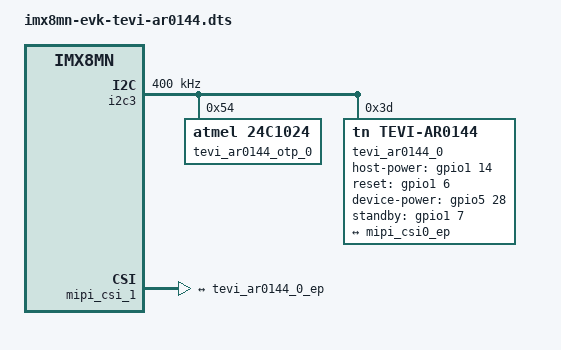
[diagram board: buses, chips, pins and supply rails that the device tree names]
// SPDX-License-Identifier: (GPL-2.0+ OR MIT)
/*
 * Copyright 2021 Technexion Ltd.
 *
 * This program is free software; you can redistribute it and/or
 * modify it under the terms of the GNU General Public License
 * as published by the Free Software Foundation; either version 2
 * of the License, or (at your option) any later version.
 *
 * This program is distributed in the hope that it will be useful,
 * but WITHOUT ANY WARRANTY; without even the implied warranty of
 * MERCHANTABILITY or FITNESS FOR A PARTICULAR PURPOSE.  See the
 * GNU General Public License for more details.
 */

#include "imx8mn-evk.dts"

&i2c3 {
	clock-frequency = <400000>;
	/delete-node/ ov5640_mipi@3c;

	tevi_ar0144_otp_0: eeprom@54 {
		compatible = "atmel,24c1024";
		reg = <0x54>;
		pagesize = <128>;
		//read-only;
	};

	tevi_ar0144_0: tevi_ar0144@3d {
		compatible = "tn,tevi-ar0144";
		reg = <0x3d>;
		pinctrl-names = "default";
		pinctrl-0 = <&pinctrl_csi_pwn>, <&pinctrl_csi_rst>, <&pinctrl_csi_device_pwr_dummy>;
		host-power-gpios = <&gpio1 14 GPIO_ACTIVE_HIGH>;
		reset-gpios = <&gpio1 6 GPIO_ACTIVE_HIGH>;
		device-power-gpios = <&gpio5 28 GPIO_ACTIVE_HIGH>;
		standby-gpios = <&gpio1 7 GPIO_ACTIVE_HIGH>;

		nvmem = <&tevi_ar0144_otp_0>;
		nvmem-names = "calib-data";
		status = "okay";

		port {
			tevi_ar0144_0_ep: endpoint {
				remote-endpoint = <&mipi_csi0_ep>;
			};
		};
	};
};

&mipi_csi_1 {
	#address-cells = <1>;
	#size-cells = <0>;
	status = "okay";

	port@0 {
		reg = <0>;
		mipi_csi0_ep: endpoint {
			remote-endpoint = <&tevi_ar0144_0_ep>;
			data-lanes = <4>;
			csis-hs-settle = <13>;
			csis-clk-settle = <2>;
			csis-wclk;
		};
	};
};


&iomuxc {
	pinctrl_csi_rst: csi_rst_grp {
		fsl,pins = <
			MX8MN_IOMUXC_GPIO1_IO06_GPIO1_IO6	0x19 /* RESET pin */
			MX8MN_IOMUXC_GPIO1_IO14_GPIO1_IO14	0x19 /* CLK pin for dummy host power pin */
		>;
	};

	pinctrl_csi_device_pwr_dummy: csi_device_pwr_dummy_grp {
		fsl,pins = <
			MX8MN_IOMUXC_UART4_RXD_GPIO5_IO28	0x9 /* dummy pin for device power pin */
		>;
	};
};
